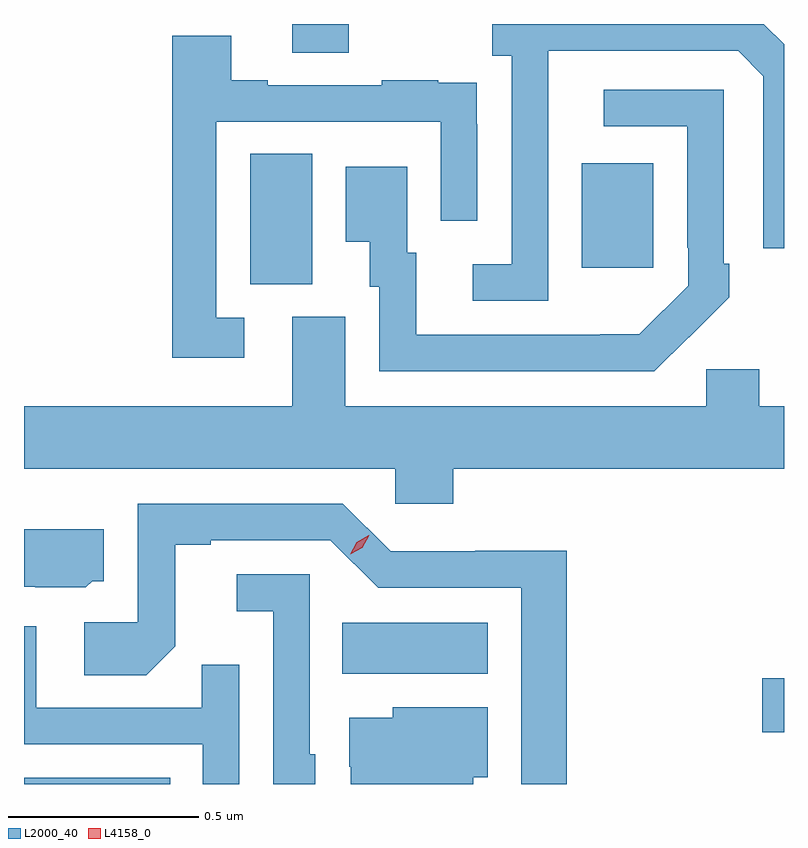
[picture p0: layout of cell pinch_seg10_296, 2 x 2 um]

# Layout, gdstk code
import gdstk
lib = gdstk.Library(unit=1e-6, precision=1e-09)
def R(c, l, rs):  # rectangles x0, y0, x1, y1
    for r in rs: c.add(gdstk.rectangle(r[:2], r[2:], *l))
def P(c, l, *ps):  # polygons
    for p in ps: c.add(gdstk.Polygon(p, *l))
L2000_40 = (2000, 40)
L4158_0 = (4158, 0)

pinch_seg10_296 = lib.new_cell('pinch_seg10_296')
R(pinch_seg10_296, L2000_40, [(516.151,1292.826,516.536,1292.842), (518.094,1292.962,518.151,1293.104), (516.988,1293.116,517.372,1293.25), (516.746,1294.141,516.91,1294.484), (517.619,1294.185,517.807,1294.459), (516.857,1294.75,517.005,1294.826)])
P(pinch_seg10_296, L2000_40, [(517.53,1294.555),(517.531,1294.555),(517.531,1294.755),(518.031,1294.755),(518.097,1294.689),(518.097,1294.236),(518.151,1294.236),(518.151,1294.773),(518.098,1294.826),(517.383,1294.826),(517.383,1294.742),(517.434,1294.742),(517.434,1294.194),(517.332,1294.194),(517.332,1294.098),(517.53,1294.098)],
  [(516.73,1294.053),(516.657,1294.053),(516.657,1294.569),(517.248,1294.569),(517.248,1294.308),(517.344,1294.308),(517.344,1294.562),(517.343,1294.562),(517.343,1294.671),(517.241,1294.671),(517.241,1294.678),(517.093,1294.678),(517.093,1294.665),(516.793,1294.665),(516.793,1294.678),(516.697,1294.678),(516.697,1294.795),(516.541,1294.795),(516.541,1293.948),(516.73,1293.948)],
  [(517.901,1294.003),(517.902,1294.002),(518.007,1294.107),(518.007,1294.195),(517.992,1294.195),(517.992,1294.653),(517.677,1294.653),(517.677,1294.557),(517.896,1294.557),(517.896,1294.237),(517.899,1294.237),(517.899,1294.137),(517.77,1294.009),(517.667,1294.009),(517.667,1294.008),(517.183,1294.008),(517.183,1294.224),(517.159,1294.224),(517.159,1294.45),(516.998,1294.45),(516.998,1294.253),(517.061,1294.253),(517.061,1294.134),(517.086,1294.134),(517.086,1293.912),(517.81,1293.912)],
  [(517.28,1293.656),(518.151,1293.656),(518.151,1293.82),(518.086,1293.82),(518.086,1293.918),(517.947,1293.918),(517.947,1293.82),(516.997,1293.82),(516.997,1294.056),(516.857,1294.056),(516.857,1293.82),(516.151,1293.82),(516.151,1293.656),(517.128,1293.656),(517.128,1293.563),(517.28,1293.563)],
  [(517.579,1293.44),(517.338,1293.44),(517.338,1293.438),(517.116,1293.438),(516.99,1293.564),(516.45,1293.564),(516.45,1293.252),(516.309,1293.252),(516.309,1293.112),(516.473,1293.112),(516.549,1293.188),(516.549,1293.456),(516.643,1293.456),(516.643,1293.468),(516.957,1293.468),(517.083,1293.342),(517.46,1293.342),(517.46,1292.826),(517.579,1292.826)],
  [(516.33,1293.36),(516.361,1293.36),(516.361,1293.496),(516.151,1293.496),(516.151,1293.345),(516.18,1293.345),(516.18,1293.344),(516.314,1293.344)],
  [(516.918,1292.904),(516.903,1292.904),(516.903,1293.378),(516.711,1293.378),(516.711,1293.281),(516.807,1293.281),(516.807,1292.826),(516.918,1292.826)],
  [(516.717,1293.14),(516.619,1293.14),(516.619,1293.027),(516.183,1293.027),(516.183,1293.241),(516.151,1293.241),(516.151,1292.931),(516.621,1292.931),(516.621,1292.826),(516.717,1292.826)],
  [(517.333,1292.844),(517.372,1292.844),(517.372,1293.028),(517.122,1293.028),(517.122,1293.001),(517.007,1293.001),(517.007,1292.872),(517.011,1292.872),(517.011,1292.826),(517.333,1292.826)])
P(pinch_seg10_296, L4158_0, [(517.009,1293.43),(517.009,1293.43),(517.026,1293.462),(517.058,1293.481),(517.059,1293.481),(517.059,1293.481),(517.041,1293.448),(517.009,1293.43)])

lib.write_gds('pinch_seg10_296.gds')
